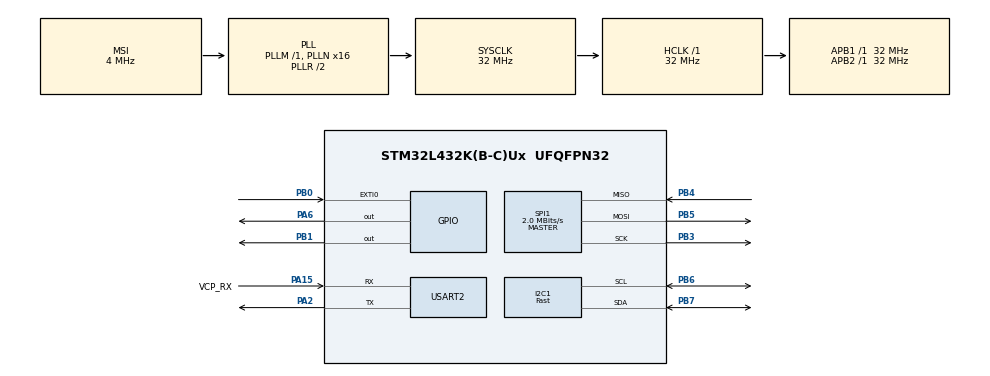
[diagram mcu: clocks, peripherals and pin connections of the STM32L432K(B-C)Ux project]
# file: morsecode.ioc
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I2C1.I2C_Speed_Mode=I2C_Fast
I2C1.Timing=0x0060112F
Mcu.Family=STM32L4
Mcu.Name=STM32L432K(B-C)Ux
Mcu.Package=UFQFPN32
NVIC.EXTI0_IRQn=true\:0\:0\:false\:false\:true\:true\:true\:true
NVIC.PriorityGroup=NVIC_PRIORITYGROUP_4
NVIC.TIM2_IRQn=true\:0\:0\:false\:false\:true\:true\:true\:true
PA0.GPIO_Label=MCO [High speed clock in]
PA0.Mode=HSE-External-Clock-Source-for-LittleOrca
PA0.Signal=RCC_CK_IN
PA13\ (JTMS-SWDIO).GPIO_Label=SWDIO
PA13\ (JTMS-SWDIO).Mode=Serial_Wire
PA13\ (JTMS-SWDIO).Signal=SYS_JTMS-SWDIO
PA14\ (JTCK-SWCLK).GPIO_Label=SWCLK
PA14\ (JTCK-SWCLK).Mode=Serial_Wire
PA14\ (JTCK-SWCLK).Signal=SYS_JTCK-SWCLK
PA15\ (JTDI).GPIO_Label=VCP_RX
PA15\ (JTDI).Mode=Asynchronous
PA15\ (JTDI).Signal=USART2_RX
PA2.Mode=Asynchronous
PA2.Signal=USART2_TX
PA6.Signal=GPIO_Output
PB0.GPIO_ModeDefaultEXTI=GPIO_MODE_IT_RISING_FALLING
PB0.GPIO_PuPd=GPIO_PULLUP
PB0.Signal=GPXTI0
PB1.Signal=GPIO_Output
PB3\ (JTDO-TRACESWO).Mode=Full_Duplex_Master
PB3\ (JTDO-TRACESWO).Signal=SPI1_SCK
PB4\ (NJTRST).Mode=Full_Duplex_Master
PB4\ (NJTRST).Signal=SPI1_MISO
PB5.Mode=Full_Duplex_Master
PB5.Signal=SPI1_MOSI
PB6.GPIO_FM6=SYSCFG_FASTMODEPLUS_PB6
PB6.Mode=I2C
PB6.Signal=I2C1_SCL
PB7.GPIO_FM7=SYSCFG_FASTMODEPLUS_PB7
PB7.Mode=I2C
PB7.Signal=I2C1_SDA
PC14-OSC32_IN\ (PC14).Mode=LSE-External-Oscillator
PC14-OSC32_IN\ (PC14).Signal=RCC_OSC32_IN
PC15-OSC32_OUT\ (PC15).Mode=LSE-External-Oscillator
PC15-OSC32_OUT\ (PC15).Signal=RCC_OSC32_OUT
ProjectManager.HeapSize=0x200
ProjectManager.StackSize=0x400
ProjectManager.TargetToolchain=STM32CubeIDE
RCC.AHBFreq_Value=32000000
RCC.APB1Freq_Value=32000000
RCC.APB1TimFreq_Value=32000000
RCC.APB2Freq_Value=32000000
RCC.APB2TimFreq_Value=32000000
RCC.CortexFreq_Value=32000000
RCC.HCLKFreq_Value=32000000
RCC.HSE_VALUE=8000000
RCC.HSI16_VALUE=16000000
RCC.HSI48_VALUE=48000000
RCC.HSI_VALUE=16000000
RCC.MSI_VALUE=4000000
RCC.PLLMUL=RCC_PLLMUL_4
RCC.PLLN=16
RCC.SYSCLKFreq_VALUE=32000000
RCC.SYSCLKSource=RCC_SYSCLKSOURCE_PLLCLK
RCC.VCOOutputFreq_Value=64000000
SPI1.BaudRatePrescaler=SPI_BAUDRATEPRESCALER_16
SPI1.CalculateBaudRate=2.0 MBits/s
SPI1.DataSize=SPI_DATASIZE_8BIT
SPI1.Direction=SPI_DIRECTION_2LINES
SPI1.Mode=SPI_MODE_MASTER
SPI1.VirtualType=VM_MASTER
TIM2.Period=100-1
TIM2.Prescaler=32000-1
USART2.VirtualMode-Asynchronous=VM_ASYNC
VP_TIM2_VS_ClockSourceINT.Mode=Internal
board=NUCLEO-L432KC

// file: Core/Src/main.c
/* USER CODE BEGIN Header */
/**
  ******************************************************************************
  * @file           : main.c
  * @brief          : Main program body
  ******************************************************************************
  * @attention
  *
  * Copyright (c) 2025 STMicroelectronics.
  * All rights reserved.
  *
  * This software is licensed under terms that can be found in the LICENSE file
  * in the root directory of this software component.
  * If no LICENSE file comes with this software, it is provided AS-IS.
  *
  ******************************************************************************
  */
/* USER CODE END Header */
#include "main.h"

/* USER CODE BEGIN Includes */
#include <stdio.h>
#include <string.h>

#include "joystick.h"
#include "matrix.h"
/* USER CODE END Includes */

/* USER CODE BEGIN PTD */
typedef struct {
	char letter;
	const char *morse;
} MorseEntry;
/* USER CODE END PTD */

/* USER CODE BEGIN PD */
#define DOT_PATTERN 0x18
#define DASH_PATTERN 0x3C

#define JOYSTICK_THRESHOLD 30

#define LETTER_TIMEOUT_TICKS 30

#define MAX_MORSE_PARTS 4
/* USER CODE END PD */

I2C_HandleTypeDef hi2c1;

SPI_HandleTypeDef hspi1;

TIM_HandleTypeDef htim2;

UART_HandleTypeDef huart2;

/* USER CODE BEGIN PV */
static const MorseEntry MorseTable[] = {
	{ 'A', ".-" },
	{ 'B', "-..." },
	{ 'C', "-.-." },
	{ 'D', "-.." },
	{ 'E', "." },
	{ 'F', "..-." },
	{ 'G', "--." },
	{ 'H', "...." },
	{ 'I', ".." },
	{ 'J', ".---" },
	{ 'K', "-.-" },
	{ 'L', ".-.." },
	{ 'M', "--" },
	{ 'N', "-." },
	{ 'O', "---" },
	{ 'P', ".--." },
	{ 'Q', "--.-" },
	{ 'R', ".-." },
	{ 'S', "..." },
	{ 'T', "-" },
	{ 'U', "..-" },
	{ 'V', "...-" },
	{ 'W', ".--" },
	{ 'X', "-..-" },
	{ 'Y', "-.--" },
	{ 'Z', "--.." }
};

#define MORSE_TABLE_SIZE  (sizeof(MorseTable)/sizeof(MorseTable[0]))

static char morseBuffer[MAX_MORSE_PARTS + 1] = {0};

static uint8_t morseIndex = 0;
static uint16_t idleCounter = 0;

uint32_t button_press_time = 0;
uint32_t button_release_time = 0;

uint8_t hasInitialChar = 1;
static uint8_t hasDisplayedChar  = 0;

static uint8_t joystickActive = 0;
/* USER CODE END PV */

void SystemClock_Config(void);
static void MX_GPIO_Init(void);
static void MX_I2C1_Init(void);
static void MX_TIM2_Init(void);
static void MX_USART2_UART_Init(void);
static void MX_SPI1_Init(void);
/* USER CODE BEGIN PFP */
int _write(int file, char *ptr, int len);

static void AddMorseSignal(uint8_t pattern);
static void EndLetter(void);
static char DecodeMorse(const char* code);
static void DisplayLetter(char letter);
static void ClearIfNeeded(void);
/* USER CODE END PFP */

int main(void)
{

  /* MCU Configuration--------------------------------------------------------*/

  /* Reset of all peripherals, Initializes the Flash interface and the Systick. */
  HAL_Init();

  /* Configure the system clock */
  SystemClock_Config();

  /* Initialize all configured peripherals */
  MX_GPIO_Init();
  MX_I2C1_Init();
  MX_TIM2_Init();
  MX_USART2_UART_Init();
  MX_SPI1_Init();
  /* USER CODE BEGIN 2 */
  printf("starting up\r\n");

  MATRIX_Init();
  MATRIX_Clear();

  for (uint8_t i = 0; i < 8; i++) {
  	MATRIX_WriteRotate(i + 1, char_m[i]);
  }

  JOYSTICK_Init();
  HAL_TIM_Base_Start_IT(&htim2);

  /* USER CODE END 2 */

  /* Infinite loop */
  while (1)
  {

  }
}

void SystemClock_Config(void)
{
  RCC_OscInitTypeDef RCC_OscInitStruct = {0};
  RCC_ClkInitTypeDef RCC_ClkInitStruct = {0};

  /** Configure the main internal regulator output voltage
  */
  if (HAL_PWREx_ControlVoltageScaling(PWR_REGULATOR_VOLTAGE_SCALE1) != HAL_OK)
  {
    Error_Handler();
  }

  /** Configure LSE Drive Capability
  */
  HAL_PWR_EnableBkUpAccess();
  __HAL_RCC_LSEDRIVE_CONFIG(RCC_LSEDRIVE_LOW);

  /** Initializes the RCC Oscillators according to the specified parameters
  * in the RCC_OscInitTypeDef structure.
  */
  RCC_OscInitStruct.OscillatorType = RCC_OSCILLATORTYPE_LSE|RCC_OSCILLATORTYPE_MSI;
  RCC_OscInitStruct.LSEState = RCC_LSE_ON;
  RCC_OscInitStruct.MSIState = RCC_MSI_ON;
  RCC_OscInitStruct.MSICalibrationValue = 0;
  RCC_OscInitStruct.MSIClockRange = RCC_MSIRANGE_6;
  RCC_OscInitStruct.PLL.PLLState = RCC_PLL_ON;
  RCC_OscInitStruct.PLL.PLLSource = RCC_PLLSOURCE_MSI;
  RCC_OscInitStruct.PLL.PLLM = 1;
  RCC_OscInitStruct.PLL.PLLN = 16;
  RCC_OscInitStruct.PLL.PLLP = RCC_PLLP_DIV7;
  RCC_OscInitStruct.PLL.PLLQ = RCC_PLLQ_DIV2;
  RCC_OscInitStruct.PLL.PLLR = RCC_PLLR_DIV2;
  if (HAL_RCC_OscConfig(&RCC_OscInitStruct) != HAL_OK)
  {
    Error_Handler();
  }

  /** Initializes the CPU, AHB and APB buses clocks
  */
  RCC_ClkInitStruct.ClockType = RCC_CLOCKTYPE_HCLK|RCC_CLOCKTYPE_SYSCLK
                              |RCC_CLOCKTYPE_PCLK1|RCC_CLOCKTYPE_PCLK2;
  RCC_ClkInitStruct.SYSCLKSource = RCC_SYSCLKSOURCE_PLLCLK;
  RCC_ClkInitStruct.AHBCLKDivider = RCC_SYSCLK_DIV1;
  RCC_ClkInitStruct.APB1CLKDivider = RCC_HCLK_DIV1;
  RCC_ClkInitStruct.APB2CLKDivider = RCC_HCLK_DIV1;

  if (HAL_RCC_ClockConfig(&RCC_ClkInitStruct, FLASH_LATENCY_1) != HAL_OK)
  {
    Error_Handler();
  }

  /** Enable MSI Auto calibration
  */
  HAL_RCCEx_EnableMSIPLLMode();
}

static void MX_I2C1_Init(void)
{

  hi2c1.Instance = I2C1;
  hi2c1.Init.Timing = 0x0060112F;
  hi2c1.Init.OwnAddress1 = 0;
  hi2c1.Init.AddressingMode = I2C_ADDRESSINGMODE_7BIT;
  hi2c1.Init.DualAddressMode = I2C_DUALADDRESS_DISABLE;
  hi2c1.Init.OwnAddress2 = 0;
  hi2c1.Init.OwnAddress2Masks = I2C_OA2_NOMASK;
  hi2c1.Init.GeneralCallMode = I2C_GENERALCALL_DISABLE;
  hi2c1.Init.NoStretchMode = I2C_NOSTRETCH_DISABLE;
  if (HAL_I2C_Init(&hi2c1) != HAL_OK)
  {
    Error_Handler();
  }

  /** Configure Analogue filter
  */
  if (HAL_I2CEx_ConfigAnalogFilter(&hi2c1, I2C_ANALOGFILTER_ENABLE) != HAL_OK)
  {
    Error_Handler();
  }

  /** Configure Digital filter
  */
  if (HAL_I2CEx_ConfigDigitalFilter(&hi2c1, 0) != HAL_OK)
  {
    Error_Handler();
  }

}

static void MX_SPI1_Init(void)
{

  /* SPI1 parameter configuration*/
  hspi1.Instance = SPI1;
  hspi1.Init.Mode = SPI_MODE_MASTER;
  hspi1.Init.Direction = SPI_DIRECTION_2LINES;
  hspi1.Init.DataSize = SPI_DATASIZE_8BIT;
  hspi1.Init.CLKPolarity = SPI_POLARITY_LOW;
  hspi1.Init.CLKPhase = SPI_PHASE_1EDGE;
  hspi1.Init.NSS = SPI_NSS_SOFT;
  hspi1.Init.BaudRatePrescaler = SPI_BAUDRATEPRESCALER_16;
  hspi1.Init.FirstBit = SPI_FIRSTBIT_MSB;
  hspi1.Init.TIMode = SPI_TIMODE_DISABLE;
  hspi1.Init.CRCCalculation = SPI_CRCCALCULATION_DISABLE;
  hspi1.Init.CRCPolynomial = 7;
  hspi1.Init.CRCLength = SPI_CRC_LENGTH_DATASIZE;
  hspi1.Init.NSSPMode = SPI_NSS_PULSE_ENABLE;
  if (HAL_SPI_Init(&hspi1) != HAL_OK)
  {
    Error_Handler();
  }

}

static void MX_TIM2_Init(void)
{

  TIM_ClockConfigTypeDef sClockSourceConfig = {0};
  TIM_MasterConfigTypeDef sMasterConfig = {0};

  htim2.Instance = TIM2;
  htim2.Init.Prescaler = 32000-1;
  htim2.Init.CounterMode = TIM_COUNTERMODE_UP;
  htim2.Init.Period = 100-1;
  htim2.Init.ClockDivision = TIM_CLOCKDIVISION_DIV1;
  htim2.Init.AutoReloadPreload = TIM_AUTORELOAD_PRELOAD_DISABLE;
  if (HAL_TIM_Base_Init(&htim2) != HAL_OK)
  {
    Error_Handler();
  }
  sClockSourceConfig.ClockSource = TIM_CLOCKSOURCE_INTERNAL;
  if (HAL_TIM_ConfigClockSource(&htim2, &sClockSourceConfig) != HAL_OK)
  {
    Error_Handler();
  }
  sMasterConfig.MasterOutputTrigger = TIM_TRGO_RESET;
  sMasterConfig.MasterSlaveMode = TIM_MASTERSLAVEMODE_DISABLE;
  if (HAL_TIMEx_MasterConfigSynchronization(&htim2, &sMasterConfig) != HAL_OK)
  {
    Error_Handler();
  }

}

static void MX_USART2_UART_Init(void)
{

  huart2.Instance = USART2;
  huart2.Init.BaudRate = 115200;
  huart2.Init.WordLength = UART_WORDLENGTH_8B;
  huart2.Init.StopBits = UART_STOPBITS_1;
  huart2.Init.Parity = UART_PARITY_NONE;
  huart2.Init.Mode = UART_MODE_TX_RX;
  huart2.Init.HwFlowCtl = UART_HWCONTROL_NONE;
  huart2.Init.OverSampling = UART_OVERSAMPLING_16;
  huart2.Init.OneBitSampling = UART_ONE_BIT_SAMPLE_DISABLE;
  huart2.AdvancedInit.AdvFeatureInit = UART_ADVFEATURE_NO_INIT;
  if (HAL_UART_Init(&huart2) != HAL_OK)
  {
    Error_Handler();
  }

}

static void MX_GPIO_Init(void)
{
  GPIO_InitTypeDef GPIO_InitStruct = {0};

  /* GPIO Ports Clock Enable */
  __HAL_RCC_GPIOC_CLK_ENABLE();
  __HAL_RCC_GPIOA_CLK_ENABLE();
  __HAL_RCC_GPIOB_CLK_ENABLE();

  /*Configure GPIO pin Output Level */
  HAL_GPIO_WritePin(GPIOA, GPIO_PIN_6, GPIO_PIN_RESET);

  /*Configure GPIO pin Output Level */
  HAL_GPIO_WritePin(GPIOB, GPIO_PIN_1, GPIO_PIN_RESET);

  /*Configure GPIO pin : PA6 */
  GPIO_InitStruct.Pin = GPIO_PIN_6;
  GPIO_InitStruct.Mode = GPIO_MODE_OUTPUT_PP;
  GPIO_InitStruct.Pull = GPIO_NOPULL;
  GPIO_InitStruct.Speed = GPIO_SPEED_FREQ_LOW;
  HAL_GPIO_Init(GPIOA, &GPIO_InitStruct);

  /*Configure GPIO pin : PB0 */
  GPIO_InitStruct.Pin = GPIO_PIN_0;
  GPIO_InitStruct.Mode = GPIO_MODE_IT_RISING_FALLING;
  GPIO_InitStruct.Pull = GPIO_PULLUP;
  HAL_GPIO_Init(GPIOB, &GPIO_InitStruct);

  /*Configure GPIO pin : PB1 */
  GPIO_InitStruct.Pin = GPIO_PIN_1;
  GPIO_InitStruct.Mode = GPIO_MODE_OUTPUT_PP;
  GPIO_InitStruct.Pull = GPIO_NOPULL;
  GPIO_InitStruct.Speed = GPIO_SPEED_FREQ_LOW;
  HAL_GPIO_Init(GPIOB, &GPIO_InitStruct);

  /* EXTI interrupt init*/
  HAL_NVIC_SetPriority(EXTI0_IRQn, 0, 0);
  HAL_NVIC_EnableIRQ(EXTI0_IRQn);

}

/* USER CODE BEGIN 4 */
int _write(int file, char *ptr, int len) {
	HAL_UART_Transmit(&huart2, (uint8_t *)ptr, len, HAL_MAX_DELAY);
	return len;
}

static void AddMorseSignal(uint8_t pattern) {
  if (morseIndex >= MAX_MORSE_PARTS) {
    return EndLetter();
  }

  MATRIX_WriteRotate(morseIndex + 1, pattern); // display code

  if (pattern == DOT_PATTERN) {
  	morseBuffer[morseIndex] = '.';
  } else {
  	morseBuffer[morseIndex] = '-';
  }

  morseIndex++;
  morseBuffer[morseIndex] = '\0';

  idleCounter = 0;
}

static void EndLetter(void) {
	printf("End of letter. Morse code = \"%s\"\r\n", morseBuffer);

	char letter = DecodeMorse(morseBuffer);
	if (letter != 0) {
		printf("Decoded letter: %c\r\n", letter);

		MATRIX_Clear();
		DisplayLetter(letter);
		hasDisplayedChar = 1;
	} else {
		printf("Invalid Morse code: no letter found\r\n");

		MATRIX_Clear();
		hasDisplayedChar = 0;
	}

	memset(morseBuffer, 0, sizeof(morseBuffer));

  morseIndex = 0;

  idleCounter = 0;
}

static char DecodeMorse(const char* code) {
	if (code == NULL || code[0] == '\0') {
		return 0;
	}

	for (uint8_t i = 0; i < MORSE_TABLE_SIZE; i++) {
		if (strcmp(MorseTable[i].morse, code) == 0) {
			return MorseTable[i].letter;
		}
	}

	return 0;
}

static void DisplayLetter(char letter) {
	if (letter >= 'a' && letter <= 'z') {
		letter = letter - 'a' + 'A';
	}

	if (letter < 'A' || letter > 'Z') {
		return;
	}

	const uint8_t *pattern = NULL;

	switch (letter) {
		case 'A': pattern = char_a; break;
		case 'B': pattern = char_b; break;
		case 'C': pattern = char_c; break;
		case 'D': pattern = char_d; break;
		case 'E': pattern = char_e; break;
		case 'F': pattern = char_f; break;
		case 'G': pattern = char_g; break;
		case 'H': pattern = char_h; break;
		case 'I': pattern = char_i; break;
		case 'J': pattern = char_j; break;
		case 'K': pattern = char_k; break;
		case 'L': pattern = char_l; break;
		case 'M': pattern = char_m; break;
		case 'N': pattern = char_n; break;
		case 'O': pattern = char_o; break;
		case 'P': pattern = char_p; break;
		case 'Q': pattern = char_q; break;
		case 'R': pattern = char_r; break;
		case 'S': pattern = char_s; break;
		case 'T': pattern = char_t; break;
		case 'U': pattern = char_u; break;
		case 'V': pattern = char_v; break;
		case 'W': pattern = char_w; break;
		case 'X': pattern = char_x; break;
		case 'Y': pattern = char_y; break;
		case 'Z': pattern = char_z; break;
		default:
			break;
	}

	if (pattern) {
		for (uint8_t i = 0; i < 8; i++) {
			MATRIX_WriteRotate(i + 1, pattern[i]);
		}
	}
}

static void ClearIfNeeded(void) {
	// clear matrix if the initial "M" characters is still present
	if (hasInitialChar) {
		MATRIX_Clear();
		hasInitialChar = 0;
	} else if (hasDisplayedChar) { // or if the morse code char is present
		MATRIX_Clear();
		hasDisplayedChar = 0;
	}
}

void HAL_GPIO_EXTI_Callback(uint16_t GPIO_Pin) {
	if (GPIO_Pin == JOYSTICK_CS_PIN) {
		if (HAL_GPIO_ReadPin(JOYSTICK_CS_PORT, JOYSTICK_CS_PIN) == GPIO_PIN_RESET) { // low
			button_press_time = HAL_GetTick();
			printf("PB0 Pressed (LOW) at %lu ms\r\n", button_press_time);
		} else { // high
			button_release_time = HAL_GetTick();
			uint32_t press_duration = button_release_time - button_press_time;
			printf("PB0 Released (HIGH) at %lu ms, Duration: %lu ms\r\n", button_release_time, press_duration);

			ClearIfNeeded();

			AddMorseSignal(DOT_PATTERN);
		}
	}
}

void HAL_TIM_PeriodElapsedCallback(TIM_HandleTypeDef *htim) {
	if (htim->Instance == TIM2) {
		int8_t x = 0, y = 0;
		JOYSTICK_GetCoords(&x, &y);

		printf("Joystick Position: X = %d, Y = %d\r\n", x, y);

		uint8_t isMoved = 0;
		if ((x > JOYSTICK_THRESHOLD) || (x < -JOYSTICK_THRESHOLD) || (y > JOYSTICK_THRESHOLD) || (y < -JOYSTICK_THRESHOLD)) {
			isMoved = 1;
		}

		if (isMoved && (joystickActive == 0)) {
			printf("Joystick dash input: x=%d y=%d\r\n", x, y);

			ClearIfNeeded();
			AddMorseSignal(DASH_PATTERN);

			joystickActive = 1;
		} else if (!isMoved) {
			joystickActive = 0; // joystick position is neutral
		}

		idleCounter++;
		if (idleCounter >= LETTER_TIMEOUT_TICKS && morseIndex > 0) {
			EndLetter();
		}
	}
}
/* USER CODE END 4 */

void Error_Handler(void)
{
  __disable_irq();
  while (1)
  {
  }
}
